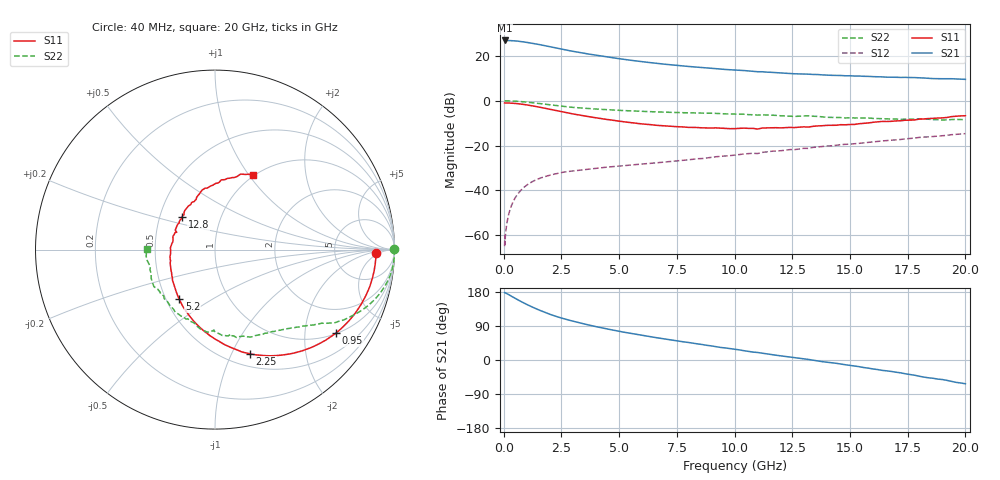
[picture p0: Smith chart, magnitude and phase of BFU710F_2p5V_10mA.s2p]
! Filename:  P:\Prog\Test\Noise\ATS_data\Testdata_Net\BFU710\BFU710_2W_A1_2.5V10mA_D.s2p
! Date/Time: Fri 29/Apr/2011 13:26:44
! BFU710_2W_A1_2.5V10mA
! bias mode 1: Vout= 2.5000 V, Iout=10.0000 mA, Vin= 0.8276 V, Iin= 0.0398 mA
! Date/time Wed Mar 16 12:12:55 2011
! Device data file deembeded for feedlines and parallel
! Original file: \BFU710\BFU710_2W_A1_2.5V10mA_R.s2p
! Feed-files: PR003V01_101208_Feed1.s2p, PR003V01_101208_Feed2.s2p
! Parallel-file: PR003V01_101208_Par.s2p
# MHz S MA R 50
!  Freq-MHz  S11-mag  S11-arg  S21-mag  S21-arg  S12-mag  S12-arg  S22-mag  S22-arg
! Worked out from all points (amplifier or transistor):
!   167 points, 40 MHz to 20 GHz, reference 50 ohm
!   highest |S21| = 27.0 dB at 50 MHz (marker M1)
!   |S21| within 3 dB of that: start of sweep to 2.102 GHz
!   unconditionally stable (mu >= 1): 5.158 GHz to 15.48 GHz
!   at 550 MHz: K = 0.08, MSG = 34.6 dB, |S12| = -42.5 dB
!   at 4.2 GHz: K = 0.87, MSG = 25.0 dB, |S12| = -29.9 dB
!   at 20 GHz: K = 0.76, MSG = 12.1 dB, |S12| = -14.7 dB
!   S11 on the Smith chart (normalised r, x): 40 MHz: 18, -4; 950 MHz: 1.03, -2.90; 2.25 GHz: 0.63, -1.18; 5.2 GHz: 0.58, -0.36; 12.8 GHz: 0.65, +0.25; 20 GHz: 0.99, +1.04
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40  0.8971 -1.4  22.27 178.0  0.0005658 83.3  0.9966 0.1
50  0.893 -1.8  22.35 177.4  0.000982 54.3  0.9975 -0.3
70  0.8977 -2.4  22.15 177.4  0.0009127 86.3  0.9991 -0.7
240  0.8925 -8.9  22.26 171.7  0.003236 86.8  0.9974 -4.1
460  0.8783 -17.1  21.92 164.0  0.006286 82.6  0.9874 -8.1
650  0.8592 -24.0  21.42 157.6  0.008823 78.6  0.9724 -11.4
950  0.8194 -34.5  20.39 148.2  0.01252 72.5  0.9416 -16.1
1200  0.78 -42.5  19.47 140.8  0.01522 68.0  0.9127 -19.6
1550  0.7223 -53.1  18.07 131.4  0.01845 62.7  0.8701 -23.8
1900  0.6653 -62.8  16.66 123.0  0.02112 58.5  0.8295 -27.5
2250  0.6114 -71.5  15.27 115.5  0.0234 55.3  0.7899 -30.7
2800  0.535 -83.8  13.36 105.7  0.0264 50.5  0.7294 -34.2
3400  0.4694 -95.2  11.75 96.4  0.02868 48.0  0.6903 -37.5
4200  0.4023 -109.5  10.06 85.5  0.03187 46.1  0.646 -41.3
5200  0.3406 -125.8  8.459 73.5  0.03571 44.4  0.6064 -46.3
6800  0.2794 -149.5  6.734 57.2  0.04208 43.4  0.5637 -53.9
8800  0.2477 -177.1  5.431 38.7  0.05303 42.2  0.5286 -65.2
10200  0.2419 165.4  4.823 26.8  0.06293 39.7  0.5035 -74.4
12800  0.2582 135.6  4.003 5.1  0.08363 32.1  0.4535 -91.8
13400  0.2695 129.8  3.886 -0.5  0.09121 30.2  0.4528 -99.1
16800  0.3491 95.9  3.375 -30.3  0.131 13.4  0.3927 -132.5
20000  0.4642 62.8  3.019 -62.7  0.185 -9.2  0.3786 179.5
